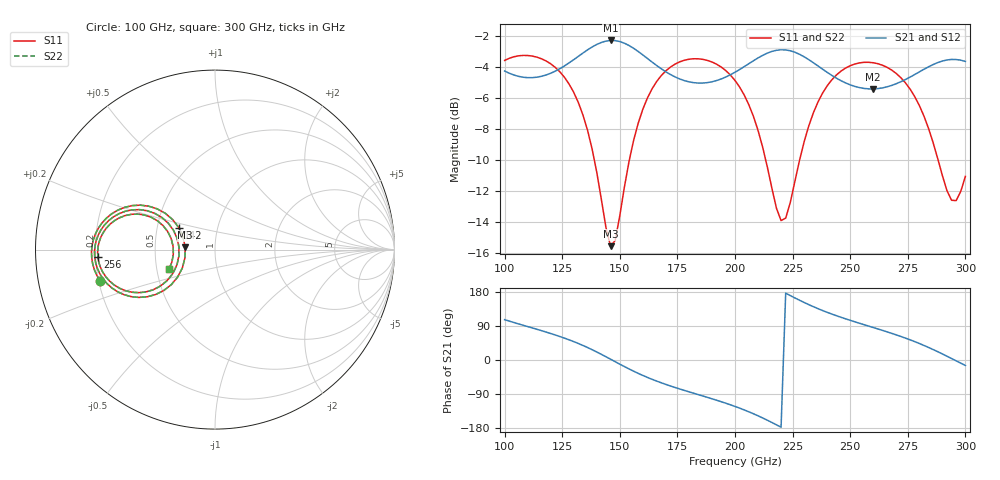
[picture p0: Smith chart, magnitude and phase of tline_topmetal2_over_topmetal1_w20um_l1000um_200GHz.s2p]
#  GHZ S DB R 50
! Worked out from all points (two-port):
!   101 points, 100 GHz to 300 GHz, reference 50 ohm
!   highest |S21| = -2.28 dB at 146 GHz (marker M1); lowest = -5.4 dB at 260 GHz (marker M2)
!   |S21| within 3 dB of the highest: start of sweep to 252.8 GHz; 265.9 GHz to end of sweep
!   lowest |S11| = -15.6 dB at 146 GHz (marker M3), VSWR 1.40, Z = 35.8 + j0.919 ohm
!   |S11| at or under -10 dB: 138.9 GHz to 154.1 GHz (15.21 GHz wide, 10.4 % of centre); 213.3 GHz to 228 GHz (14.73 GHz wide, 6.68 % of centre); 288.1 GHz to end of sweep
!   |S22| runs from -15.6 to -3.2 dB; largest |S21 - S12| = 1e-13
!   S11 on the Smith chart (normalised r, x): 100 GHz: 0.21, -0.13; 142 GHz: 0.65, +0.17; 256 GHz: 0.21, -0.03; 300 GHz: 0.58, -0.14
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100  -3.57 -164.6  -4.25 106.5  -4.25 106.5  -3.57 -164.6
116  -3.46 172.4  -4.59 77.4  -4.59 77.4  -3.46 172.4
126  -4.66 157.9  -3.92 57.7  -3.92 57.7  -4.66 157.9
134  -7.09 146.8  -3.09 38.4  -3.09 38.4  -7.09 146.8
142  -12.55 148.8  -2.40 14.9  -2.40 14.9  -12.56 148.8
146  -15.57 175.7  -2.28 2.1  -2.28 2.1  -15.58 175.7
148  -15.21 -164.6  -2.29 -4.5  -2.29 -4.5  -15.22 -164.6
158  -7.62 -142.9  -2.99 -35.3  -2.99 -35.3  -7.62 -142.9
168  -4.55 -156.8  -4.11 -60.1  -4.11 -60.1  -4.55 -156.8
184  -3.46 -179.1  -5.03 -91.3  -5.03 -91.3  -3.46 -179.1
200  -4.86 159.5  -4.33 -122.5  -4.33 -122.5  -4.86 159.5
210  -8.09 149.0  -3.41 -147.3  -3.41 -147.3  -8.10 148.9
220  -13.92 176.3  -2.88 -177.4  -2.88 -177.4  -13.97 176.2
226  -11.38 -150.6  -3.04 163.8  -3.04 163.8  -11.41 -150.5
234  -6.96 -148.4  -3.71 140.7  -3.71 140.7  -6.97 -148.3
246  -4.26 -163.3  -4.88 112.7  -4.88 112.7  -4.26 -163.2
256  -3.69 -176.2  -5.38 93.2  -5.38 93.2  -3.69 -176.1
260  -3.72 178.8  -5.41 85.8  -5.41 85.8  -3.72 178.8
268  -4.19 168.8  -5.18 70.3  -5.18 70.3  -4.19 168.9
284  -7.96 153.1  -3.98 33.1  -3.98 33.1  -7.97 153.2
294  -12.61 175.6  -3.50 3.9  -3.50 3.9  -12.62 175.6
300  -11.06 -156.9  -3.63 -14.5  -3.63 -14.5  -11.07 -156.8
